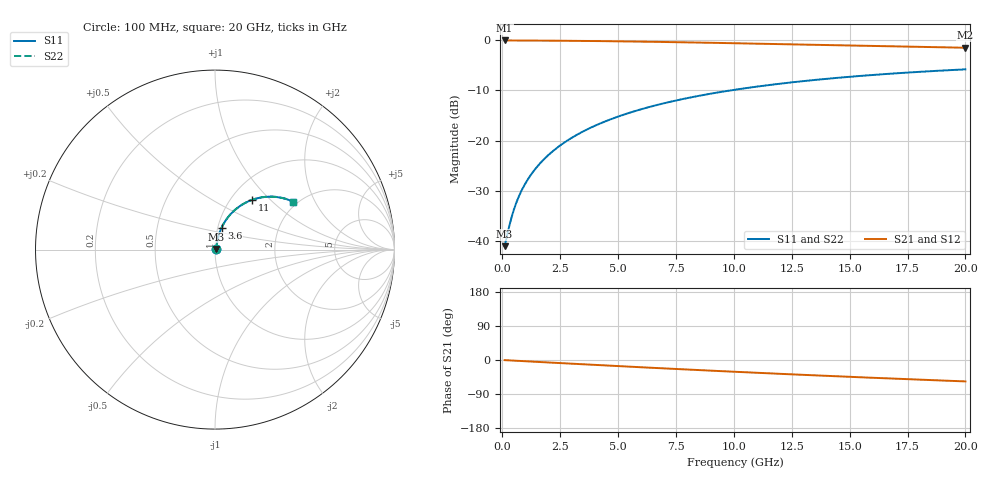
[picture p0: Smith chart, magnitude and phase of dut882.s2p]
! Touchstone file exported from HFSS 2026.1.0
!  File:  C:/ffzhzh/LocalFiles/Ansys_Project_Files/temp_train_TMRDL_882_1783157498_18472.aedt
!  Generated:  05:33:01 PM Jul  4, 2026
!  Design:  TMRDL
!  Project:  temp_train_TMRDL_882_1783157498_18472
! Variables:
!  h_bsmrdl = 2um
!  h_ox = 20um
!  h_rdl = 5um
!  h_sub = 80um
!  h_tmrdl = 3.36um
!  h_tsv = 80um
!  h_via = 3um
!  l_bsmrdl = 300um
!  l_sub = 1277.69um
!  l_tmrdl = 877.69um
!  m_sub = 200um
!  pitch = 32.57um
!  r_tsv = 6um
!  s_tmrdl = 10um
!  w_bsmrdl = 18um
!  w_sub = 500um
!  w_tmrdl = 11.42um
!  x_tsv_center1 = 883.4um
!  x_tsv_center2 = 1201.4um
!  x_tsv_center3 = 2090.51um
!  x_tsv_center4 = 2408.51um
!  x_tsv_center5 = 3297.62um
!  x_tsv_center6 = 3615.62um
# GHz S MA R 50.000000
! Terminal data exported
! Port[1] = TM_RDL1_1_T1
! Port[2] = TM_RDL1_1_T2
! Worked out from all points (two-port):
!   200 points, 100 MHz to 20 GHz, reference 50 ohm
!   highest |S21| = -0.07 dB at 100 MHz (marker M1); lowest = -1.5 dB at 20 GHz (marker M2)
!   |S21| within 3 dB of the highest: start of sweep to end of sweep
!   lowest |S11| = -41.0 dB at 100 MHz (marker M3), VSWR 1.02, Z = 50.8 + j0.383 ohm
!   |S11| at or under -10 dB: start of sweep to 9.876 GHz
!   |S22| runs from -41.0 to -5.8 dB; largest |S21 - S12| = 2.9e-15
!   S11 on the Smith chart (normalised r, x): 100 MHz: 1.02, +0.01; 3.6 GHz: 1.04, +0.26; 11 GHz: 1.25, +0.78; 20 GHz: 1.90, +1.37
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0.1  0.008892 25.1  0.992 -0.3  0.992 -0.3  0.008892 25.1
! Gamma 0 0 0 0
! Port Impedance 50 0 50 0
0.3  0.01404 52.8  0.9916 -1.0  0.9916 -1.0  0.01404 52.8
0.4  0.01723 59.3  0.9914 -1.3  0.9914 -1.3  0.01723 59.3
0.6  0.0239 66.4  0.991 -2.0  0.991 -2.0  0.0239 66.4
0.7  0.02729 68.6  0.9907 -2.3  0.9907 -2.3  0.02729 68.6
0.9  0.03411 71.5  0.9903 -3.0  0.9903 -3.0  0.03411 71.5
1.2  0.04443 73.8  0.9896 -4.0  0.9896 -4.0  0.04443 73.8
1.4  0.05134 74.7  0.9892 -4.6  0.9892 -4.6  0.05134 74.7
1.7  0.06173 75.3  0.9884 -5.6  0.9884 -5.6  0.06173 75.3
2.2  0.07905 75.5  0.9869 -7.2  0.9869 -7.2  0.07905 75.5
2.8  0.09974 74.9  0.9846 -9.1  0.9846 -9.1  0.09973 74.9
3.5  0.1236 73.6  0.9815 -11.4  0.9815 -11.4  0.1236 73.6
3.6  0.127 73.4  0.981 -11.7  0.981 -11.7  0.127 73.4
4.3  0.1504 71.7  0.9772 -13.9  0.9772 -13.9  0.1504 71.7
5  0.1733 69.9  0.9728 -16.1  0.9728 -16.1  0.1733 69.9
6.8  0.2297 65.0  0.9596 -21.6  0.9596 -21.6  0.2297 65.0
8.3  0.2735 60.8  0.947 -26.1  0.947 -26.1  0.2735 60.8
10.1  0.322 55.8  0.9305 -31.3  0.9305 -31.3  0.322 55.9
11  0.3446 53.4  0.9219 -33.8  0.9219 -33.8  0.3445 53.5
13.4  0.3993 47.1  0.8987 -40.3  0.8987 -40.3  0.3992 47.2
16.7  0.4621 39.0  0.8677 -48.7  0.8677 -48.7  0.462 39.1
20  0.5116 31.3  0.8397 -56.5  0.8397 -56.5  0.5115 31.5
